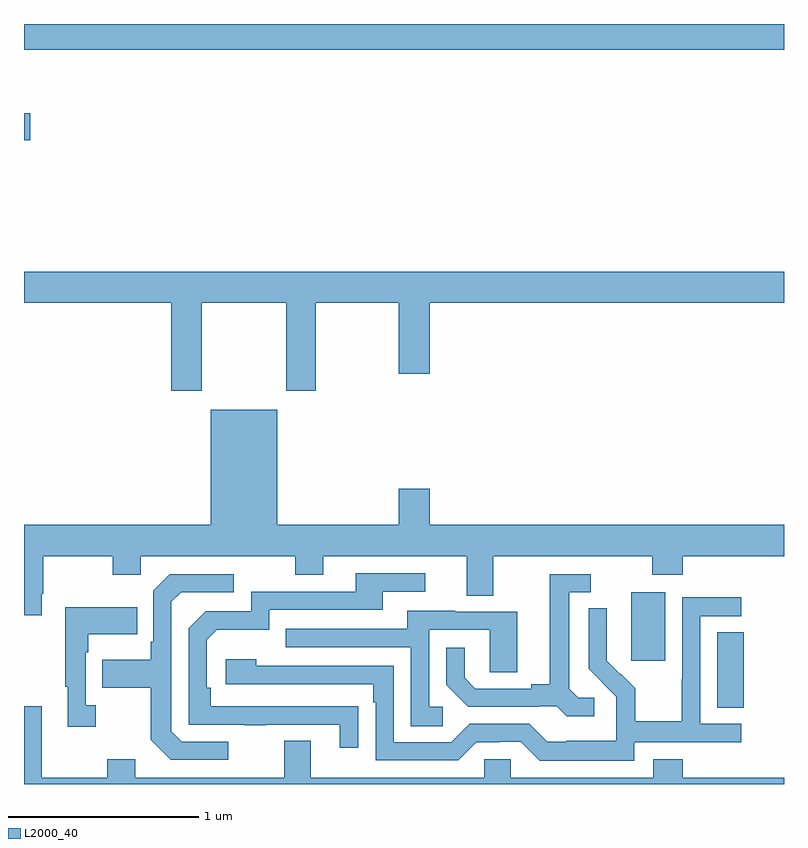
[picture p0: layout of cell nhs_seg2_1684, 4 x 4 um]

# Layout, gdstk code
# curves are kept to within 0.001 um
import gdstk
lib = gdstk.Library(unit=1e-6, precision=1e-09)
def R(c, l, rs):  # rectangles x0, y0, x1, y1
    for r in rs: c.add(gdstk.rectangle(r[:2], r[2:], *l))
def P(c, l, *ps):  # polygons
    for p in ps: c.add(gdstk.Polygon(p, *l))
L2000_40 = (2000, 40)

nhs_seg2_1684 = lib.new_cell('nhs_seg2_1684')
R(nhs_seg2_1684, L2000_40, [(202.649,616.201,202.788,616.598), (202.196,616.449,202.375,616.81), (199,619.187,199.033,619.329), (199,619.664,203,619.8)])
P(nhs_seg2_1684, L2000_40, [(199.935,618.332),(200.38,618.332),(200.38,617.871),(200.535,617.871),(200.535,618.332),(200.972,618.332),(200.972,617.958),(201.136,617.958),(201.136,618.332),(203,618.332),(203,618.496),(199,618.496),(199,618.332),(199.775,618.332),(199.775,617.871),(199.935,617.871)],
  [(199.093,616.801),(199.101,616.801),(199.101,617),(199.468,617),(199.468,616.901),(199.614,616.901),(199.614,617),(200.428,617),(200.428,616.901),(200.575,616.901),(200.575,617),(201.329,617),(201.329,616.792),(201.469,616.792),(201.469,617),(202.306,617),(202.306,616.901),(202.466,616.901),(202.466,617),(203,617),(203,617.164),(201.136,617.164),(201.136,617.353),(200.972,617.353),(200.972,617.164),(200.332,617.164),(200.332,617.77),(199.982,617.77),(199.982,617.164),(199,617.164),(199,616.689),(199.093,616.689)],
  [(200.759,616.208),(199.982,616.209),(199.982,616.306),(199.962,616.306),(199.962,616.56),(200.015,616.613),(200.292,616.613),(200.292,616.716),(200.887,616.716),(200.887,616.812),(201.112,616.812),(201.112,616.908),(200.747,616.908),(200.747,616.812),(200.196,616.812),(200.196,616.71),(199.956,616.71),(199.866,616.62),(199.866,616.113),(200.161,616.113),(200.161,616.108),(200.273,616.108),(200.273,616.113),(200.663,616.113),(200.663,615.99),(200.759,615.99)],
  [(202,616.254),(201.918,616.254),(201.871,616.301),(201.871,616.809),(201.982,616.809),(201.982,616.905),(201.767,616.905),(201.767,616.325),(201.671,616.325),(201.671,616.302),(201.376,616.302),(201.319,616.359),(201.319,616.516),(201.222,616.516),(201.222,616.322),(201.338,616.206),(201.71,616.206),(201.71,616.209),(201.804,616.209),(201.856,616.157),(202,616.157)],
  [(200.074,616.023),(199.83,616.023),(199.776,616.077),(199.776,616.758),(199.827,616.809),(200.104,616.809),(200.104,616.905),(199.767,616.905),(199.68,616.818),(199.68,616.549),(199.668,616.549),(199.668,616.453),(199.411,616.453),(199.411,616.306),(199.668,616.306),(199.668,616.033),(199.773,615.927),(200.074,615.927)],
  [(202.212,616.02),(202.774,616.02),(202.774,616.116),(202.56,616.116),(202.56,616.683),(202.774,616.683),(202.774,616.782),(202.464,616.782),(202.464,616.352),(202.462,616.352),(202.462,616.129),(202.217,616.129),(202.217,616.303),(202.14,616.38),(202.137,616.377),(202.067,616.448),(202.068,616.724),(201.972,616.724),(201.972,616.406),(202.118,616.258),(202.118,616.161),(202.116,616.161),(202.116,616.027),(201.853,616.027),(201.853,616.023),(201.753,616.023),(201.66,616.116),(201.345,616.116),(201.249,616.02),(200.946,616.02),(200.946,616.422),(200.222,616.422),(200.222,616.456),(200.061,616.456),(200.061,616.326),(200.837,616.326),(200.837,616.229),(200.85,616.229),(200.85,615.924),(201.285,615.924),(201.381,616.02),(201.5,616.02),(201.5,616.023),(201.615,616.023),(201.715,615.923),(202.212,615.923)],
  [(199.378,616.214),(199.326,616.214),(199.326,616.493),(199.339,616.493),(199.339,616.589),(199.595,616.589),(199.595,616.729),(199.218,616.729),(199.218,616.313),(199.229,616.313),(199.229,616.101),(199.378,616.101)],
  [(201.205,616.206),(201.132,616.206),(201.132,616.611),(201.45,616.611),(201.45,616.387),(201.595,616.387),(201.595,616.707),(201.271,616.707),(201.271,616.711),(201.017,616.711),(201.017,616.617),(200.377,616.617),(200.377,616.521),(201.036,616.521),(201.036,616.105),(201.205,616.105)],
  [(203,615.832),(202.466,615.832),(202.466,615.931),(202.313,615.931),(202.313,615.832),(201.561,615.832),(201.561,615.93),(201.423,615.93),(201.423,615.832),(200.509,615.832),(200.509,616.027),(200.369,616.027),(200.369,615.832),(199.585,615.832),(199.585,615.931),(199.438,615.931),(199.438,615.832),(199.093,615.832),(199.093,616.21),(199,616.21),(199,615.8),(203,615.8)])

lib.write_gds('nhs_seg2_1684.gds')
